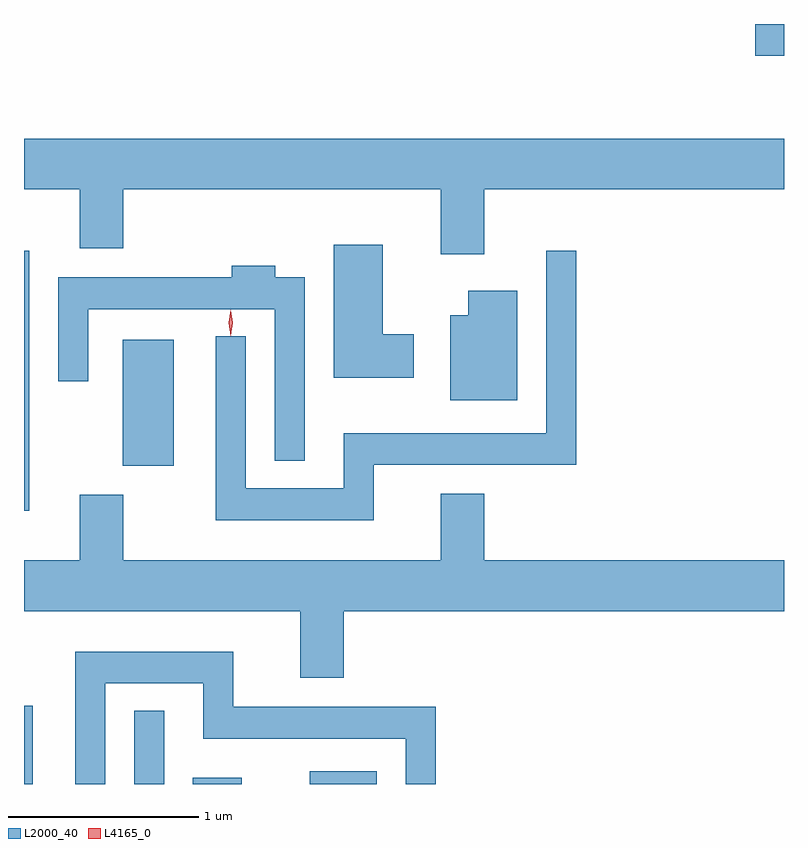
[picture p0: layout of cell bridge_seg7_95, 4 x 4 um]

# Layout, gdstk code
import gdstk
lib = gdstk.Library(unit=1e-6, precision=1e-09)
def R(c, l, rs):  # rectangles x0, y0, x1, y1
    for r in rs: c.add(gdstk.rectangle(r[:2], r[2:], *l))
def P(c, l, *ps):  # polygons
    for p in ps: c.add(gdstk.Polygon(p, *l))
L2000_40 = (2000, 40)
L4165_0 = (4165, 0)

bridge_seg7_95 = lib.new_cell('bridge_seg7_95')
R(bridge_seg7_95, L2000_40, [(1624.817,1784.447,1624.864,1784.859), (1625.396,1784.447,1625.554,1784.833), (1625.706,1784.447,1625.964,1784.479), (1626.321,1784.447,1626.674,1784.514), (1624.817,1785.886,1624.844,1787.253), (1625.336,1786.121,1625.604,1786.784), (1628.666,1788.281,1628.817,1788.447)])
P(bridge_seg7_95, L2000_40, [(1627.239,1787.576),(1628.817,1787.576),(1628.817,1787.844),(1624.817,1787.844),(1624.817,1787.576),(1625.111,1787.576),(1625.111,1787.266),(1625.339,1787.266),(1625.339,1787.576),(1627.011,1787.576),(1627.011,1787.236),(1627.239,1787.236)],
  [(1626.869,1786.814),(1626.704,1786.814),(1626.704,1787.284),(1626.446,1787.284),(1626.446,1786.586),(1626.869,1786.586)],
  [(1626.659,1786.126),(1627.724,1786.126),(1627.724,1787.253),(1627.566,1787.253),(1627.566,1786.294),(1626.501,1786.294),(1626.501,1786.004),(1625.984,1786.004),(1625.984,1786.803),(1625.826,1786.803),(1625.826,1785.836),(1626.659,1785.836)],
  [(1626.294,1787.114),(1626.139,1787.114),(1626.139,1787.174),(1625.911,1787.174),(1625.911,1787.114),(1624.996,1787.114),(1624.996,1786.568),(1625.154,1786.568),(1625.154,1786.946),(1626.136,1786.946),(1626.136,1786.148),(1626.294,1786.148)],
  [(1627.414,1787.044),(1627.156,1787.044),(1627.156,1786.914),(1627.061,1786.914),(1627.061,1786.466),(1627.414,1786.466)],
  [(1626.499,1785.356),(1628.817,1785.356),(1628.817,1785.624),(1627.239,1785.624),(1627.239,1785.974),(1627.011,1785.974),(1627.011,1785.624),(1625.339,1785.624),(1625.339,1785.969),(1625.111,1785.969),(1625.111,1785.624),(1624.817,1785.624),(1624.817,1785.356),(1626.271,1785.356),(1626.271,1785.006),(1626.499,1785.006)],
  [(1625.244,1784.976),(1625.761,1784.976),(1625.761,1784.686),(1626.826,1784.686),(1626.826,1784.447),(1626.984,1784.447),(1626.984,1784.854),(1625.919,1784.854),(1625.919,1785.144),(1625.086,1785.144),(1625.086,1784.447),(1625.244,1784.447)])
P(bridge_seg7_95, L4165_0, [(1625.904,1786.804),(1625.904,1786.804),(1625.894,1786.874),(1625.904,1786.942),(1625.904,1786.943),(1625.905,1786.942),(1625.914,1786.874),(1625.905,1786.804)],
  [(1625.905,1786.807),(1625.904,1786.808),(1625.895,1786.874),(1625.904,1786.94),(1625.905,1786.94),(1625.905,1786.94),(1625.915,1786.874),(1625.905,1786.808)])

lib.write_gds('bridge_seg7_95.gds')
